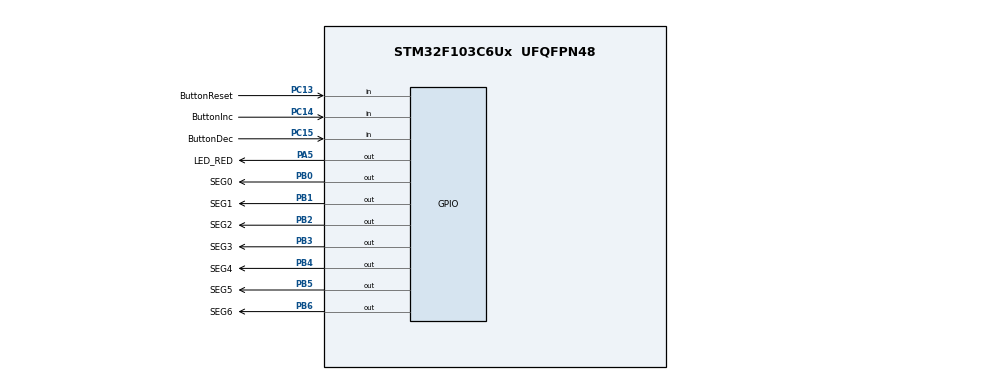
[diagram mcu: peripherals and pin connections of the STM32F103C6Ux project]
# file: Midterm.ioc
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Mcu.Family=STM32F1
Mcu.Name=STM32F103C6Ux
Mcu.Package=UFQFPN48
NVIC.PriorityGroup=NVIC_PRIORITYGROUP_4
NVIC.TIM2_IRQn=true\:0\:0\:false\:false\:true\:true\:true
PA5.GPIO_Label=LED_RED
PA5.Signal=GPIO_Output
PB0.GPIO_Label=SEG0
PB0.Signal=GPIO_Output
PB1.GPIO_Label=SEG1
PB1.Signal=GPIO_Output
PB2.GPIO_Label=SEG2
PB2.Signal=GPIO_Output
PB3.GPIO_Label=SEG3
PB3.Signal=GPIO_Output
PB4.GPIO_Label=SEG4
PB4.Signal=GPIO_Output
PB5.GPIO_Label=SEG5
PB5.Signal=GPIO_Output
PB6.GPIO_Label=SEG6
PB6.Signal=GPIO_Output
PC13-TAMPER-RTC.GPIO_Label=ButtonReset
PC13-TAMPER-RTC.GPIO_PuPd=GPIO_PULLUP
PC13-TAMPER-RTC.Signal=GPIO_Input
PC14-OSC32_IN.GPIO_Label=ButtonInc
PC14-OSC32_IN.GPIO_PuPd=GPIO_PULLUP
PC14-OSC32_IN.Signal=GPIO_Input
PC15-OSC32_OUT.GPIO_Label=ButtonDec
PC15-OSC32_OUT.GPIO_PuPd=GPIO_PULLUP
PC15-OSC32_OUT.Signal=GPIO_Input
ProjectManager.HeapSize=0x200
ProjectManager.StackSize=0x400
ProjectManager.TargetToolchain=STM32CubeIDE
RCC.APB1Freq_Value=8000000
RCC.APB2Freq_Value=8000000
TIM2.Period=9
TIM2.Prescaler=7999
VP_SYS_VS_ND.Mode=No_Debug
VP_TIM2_VS_ClockSourceINT.Mode=Internal
board=custom

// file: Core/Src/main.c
/* USER CODE BEGIN Header */
/**
  ******************************************************************************
  * @file           : main.c
  * @brief          : Main program body
  ******************************************************************************
  * @attention
  *
  * <h2><center>&copy; Copyright (c) 2022 STMicroelectronics.
  * All rights reserved.</center></h2>
  *
  * This software component is licensed by ST under BSD 3-Clause license,
  * the "License"; You may not use this file except in compliance with the
  * License. You may obtain a copy of the License at:
  *                        opensource.org/licenses/BSD-3-Clause
  *
  ******************************************************************************
  */
/* USER CODE END Header */
#include "main.h"

/* USER CODE BEGIN Includes */
#include "button.h"
#include "software_timer.h"
#include "display7seg.h"
#include "fsm_step1.h"
#include "fsm_step2.h"
#include "blinky_led.h"
/* USER CODE END Includes */

TIM_HandleTypeDef htim2;

void SystemClock_Config(void);
static void MX_GPIO_Init(void);
static void MX_TIM2_Init(void);

int main(void)
{

  /* MCU Configuration--------------------------------------------------------*/

  /* Reset of all peripherals, Initializes the Flash interface and the Systick. */
  HAL_Init();

  /* Configure the system clock */
  SystemClock_Config();

  /* Initialize all configured peripherals */
  MX_GPIO_Init();
  MX_TIM2_Init();
  /* USER CODE BEGIN 2 */
  HAL_TIM_Base_Start_IT(& htim2);
  /* USER CODE END 2 */

  /* Infinite loop */
  /* USER CODE BEGIN WHILE */
  counter = 9;
  status = INIT;
  signal = ON;
  setTimer2(1000);
  setTimer1(10000);
  while (1)
  {
    /* USER CODE END WHILE */

    /* USER CODE BEGIN 3 */
	  blinky_led_run();
	  fsm_step1_run();
	  fsm_step2_run();
  }
  /* USER CODE END 3 */
}

void SystemClock_Config(void)
{
  RCC_OscInitTypeDef RCC_OscInitStruct = {0};
  RCC_ClkInitTypeDef RCC_ClkInitStruct = {0};

  /** Initializes the RCC Oscillators according to the specified parameters
  * in the RCC_OscInitTypeDef structure.
  */
  RCC_OscInitStruct.OscillatorType = RCC_OSCILLATORTYPE_HSI;
  RCC_OscInitStruct.HSIState = RCC_HSI_ON;
  RCC_OscInitStruct.HSICalibrationValue = RCC_HSICALIBRATION_DEFAULT;
  RCC_OscInitStruct.PLL.PLLState = RCC_PLL_NONE;
  if (HAL_RCC_OscConfig(&RCC_OscInitStruct) != HAL_OK)
  {
    Error_Handler();
  }
  /** Initializes the CPU, AHB and APB buses clocks
  */
  RCC_ClkInitStruct.ClockType = RCC_CLOCKTYPE_HCLK|RCC_CLOCKTYPE_SYSCLK
                              |RCC_CLOCKTYPE_PCLK1|RCC_CLOCKTYPE_PCLK2;
  RCC_ClkInitStruct.SYSCLKSource = RCC_SYSCLKSOURCE_HSI;
  RCC_ClkInitStruct.AHBCLKDivider = RCC_SYSCLK_DIV1;
  RCC_ClkInitStruct.APB1CLKDivider = RCC_HCLK_DIV1;
  RCC_ClkInitStruct.APB2CLKDivider = RCC_HCLK_DIV1;

  if (HAL_RCC_ClockConfig(&RCC_ClkInitStruct, FLASH_LATENCY_0) != HAL_OK)
  {
    Error_Handler();
  }
}

static void MX_TIM2_Init(void)
{

  TIM_ClockConfigTypeDef sClockSourceConfig = {0};
  TIM_MasterConfigTypeDef sMasterConfig = {0};

  htim2.Instance = TIM2;
  htim2.Init.Prescaler = 7999;
  htim2.Init.CounterMode = TIM_COUNTERMODE_UP;
  htim2.Init.Period = 9;
  htim2.Init.ClockDivision = TIM_CLOCKDIVISION_DIV1;
  htim2.Init.AutoReloadPreload = TIM_AUTORELOAD_PRELOAD_DISABLE;
  if (HAL_TIM_Base_Init(&htim2) != HAL_OK)
  {
    Error_Handler();
  }
  sClockSourceConfig.ClockSource = TIM_CLOCKSOURCE_INTERNAL;
  if (HAL_TIM_ConfigClockSource(&htim2, &sClockSourceConfig) != HAL_OK)
  {
    Error_Handler();
  }
  sMasterConfig.MasterOutputTrigger = TIM_TRGO_RESET;
  sMasterConfig.MasterSlaveMode = TIM_MASTERSLAVEMODE_DISABLE;
  if (HAL_TIMEx_MasterConfigSynchronization(&htim2, &sMasterConfig) != HAL_OK)
  {
    Error_Handler();
  }

}

static void MX_GPIO_Init(void)
{
  GPIO_InitTypeDef GPIO_InitStruct = {0};

  /* GPIO Ports Clock Enable */
  __HAL_RCC_GPIOC_CLK_ENABLE();
  __HAL_RCC_GPIOA_CLK_ENABLE();
  __HAL_RCC_GPIOB_CLK_ENABLE();

  /*Configure GPIO pin Output Level */
  HAL_GPIO_WritePin(LED_RED_GPIO_Port, LED_RED_Pin, GPIO_PIN_RESET);

  /*Configure GPIO pin Output Level */
  HAL_GPIO_WritePin(GPIOB, SEG0_Pin|SEG1_Pin|SEG2_Pin|SEG3_Pin
                          |SEG4_Pin|SEG5_Pin|SEG6_Pin, GPIO_PIN_RESET);

  /*Configure GPIO pins : ButtonReset_Pin ButtonInc_Pin ButtonDec_Pin */
  GPIO_InitStruct.Pin = ButtonReset_Pin|ButtonInc_Pin|ButtonDec_Pin;
  GPIO_InitStruct.Mode = GPIO_MODE_INPUT;
  GPIO_InitStruct.Pull = GPIO_PULLUP;
  HAL_GPIO_Init(GPIOC, &GPIO_InitStruct);

  /*Configure GPIO pin : LED_RED_Pin */
  GPIO_InitStruct.Pin = LED_RED_Pin;
  GPIO_InitStruct.Mode = GPIO_MODE_OUTPUT_PP;
  GPIO_InitStruct.Pull = GPIO_NOPULL;
  GPIO_InitStruct.Speed = GPIO_SPEED_FREQ_LOW;
  HAL_GPIO_Init(LED_RED_GPIO_Port, &GPIO_InitStruct);

  /*Configure GPIO pins : SEG0_Pin SEG1_Pin SEG2_Pin SEG3_Pin
                           SEG4_Pin SEG5_Pin SEG6_Pin */
  GPIO_InitStruct.Pin = SEG0_Pin|SEG1_Pin|SEG2_Pin|SEG3_Pin
                          |SEG4_Pin|SEG5_Pin|SEG6_Pin;
  GPIO_InitStruct.Mode = GPIO_MODE_OUTPUT_PP;
  GPIO_InitStruct.Pull = GPIO_NOPULL;
  GPIO_InitStruct.Speed = GPIO_SPEED_FREQ_LOW;
  HAL_GPIO_Init(GPIOB, &GPIO_InitStruct);

}

/* USER CODE BEGIN 4 */
void HAL_TIM_PeriodElapsedCallback ( TIM_HandleTypeDef * htim )
{
	timerRun();
	getKeyResetInput();
	getKeyIncInput();
	getKeyDecInput();
}
/* USER CODE END 4 */

void Error_Handler(void)
{
  __disable_irq();
  while (1)
  {
  }
}

/************************ (C) COPYRIGHT STMicroelectronics *****END OF FILE****/
